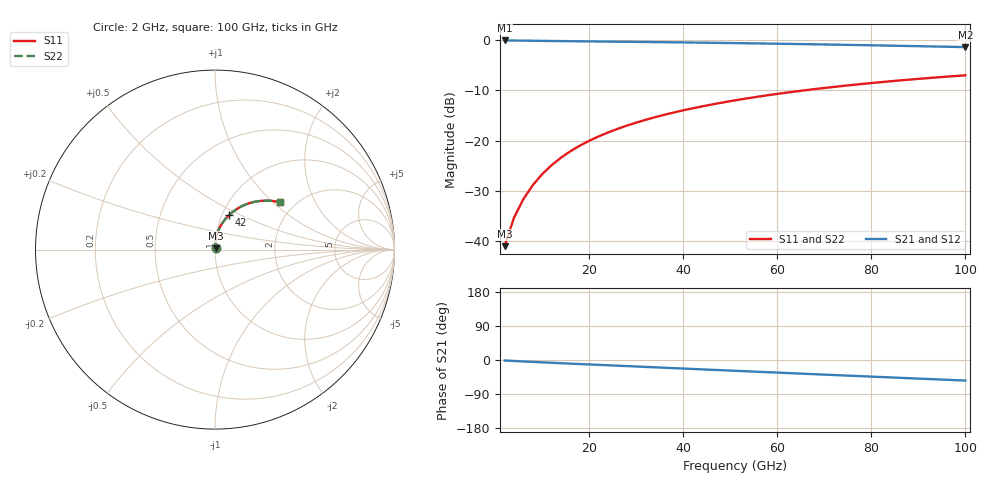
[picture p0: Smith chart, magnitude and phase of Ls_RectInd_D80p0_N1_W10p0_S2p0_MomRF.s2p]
! Created Thu Oct  1 20:32:54 2026
! List of port names and net name(s): example Port n = <port_name> <net_name1> <net_name2> ...
! Port 1 = P1 P1
! Port 2 = P2 P1
# hz S ma R 50
! Port[1]
! Port[2]
! 2 Port Network Data from data block
! freq  magS11  angS11  magS21  angS21  magS12  angS12  magS22  angS22
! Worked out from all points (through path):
!   50 points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, 2 GHz to 100 GHz, reference 50 ohm
!   highest |S21| = -0.04 dB at 2 GHz (marker M1); lowest = -1.4 dB at 100 GHz (marker M2)
!   group delay of S21, straight-line fit = 1.49 ps
!   lowest |S11| = -41.0 dB at 2 GHz (marker M3), VSWR 1.02, Z = 50.3 + j0.837 ohm
!   |S11| at or under -10 dB: start of sweep to 65.53 GHz
!   |S22| runs from -41.0 to -7.0 dB; largest |S21 - S12| = 0
!   S11 on the Smith chart (normalised r, x): 2 GHz: 1.01, +0.02; 42 GHz: 1.08, +0.44; 100 GHz: 1.68, +1.11
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2e9  0.008914 68.8  0.9959 -1.3  0.9959 -1.3  0.008914 68.8
4e9  0.01713 80.5  0.9939 -2.6  0.9939 -2.6  0.01713 80.5
6e9  0.02627 84.9  0.9915 -3.8  0.9915 -3.8  0.02627 84.9
8e9  0.03615 86.5  0.9888 -5.0  0.9888 -5.0  0.03615 86.5
1e10  0.04651 86.6  0.9862 -6.2  0.9862 -6.2  0.04651 86.6
1.2e10  0.05714 86.1  0.9837 -7.3  0.9837 -7.3  0.05714 86.1
1.4e10  0.06787 85.1  0.9813 -8.4  0.9813 -8.4  0.06787 85.1
1.6e10  0.07861 83.9  0.979 -9.5  0.979 -9.5  0.07861 83.9
1.8e10  0.08929 82.6  0.9768 -10.6  0.9768 -10.6  0.08929 82.6
2e10  0.0999 81.3  0.9746 -11.7  0.9746 -11.7  0.0999 81.3
2.4e10  0.1208 78.6  0.9703 -13.9  0.9703 -13.9  0.1208 78.6
2.8e10  0.1414 76.0  0.966 -16.1  0.966 -16.1  0.1414 76.0
3.2e10  0.1615 73.5  0.9615 -18.3  0.9615 -18.3  0.1615 73.5
3.6e10  0.1813 71.0  0.9568 -20.4  0.9568 -20.4  0.1813 71.0
4.2e10  0.2102 67.5  0.9494 -23.6  0.9494 -23.6  0.2102 67.5
5.2e10  0.2568 61.7  0.9359 -29.0  0.9359 -29.0  0.2568 61.7
6e10  0.2925 57.2  0.9241 -33.3  0.9241 -33.3  0.2925 57.2
6.8e10  0.3267 52.9  0.9115 -37.5  0.9115 -37.5  0.3267 52.9
7.6e10  0.3594 48.5  0.8982 -41.7  0.8982 -41.7  0.3594 48.6
8.4e10  0.3905 44.3  0.8842 -45.9  0.8842 -45.9  0.3905 44.3
9.2e10  0.42 40.1  0.8698 -50.1  0.8698 -50.1  0.42 40.1
1e11  0.4478 35.9  0.855 -54.3  0.855 -54.3  0.4479 35.9
